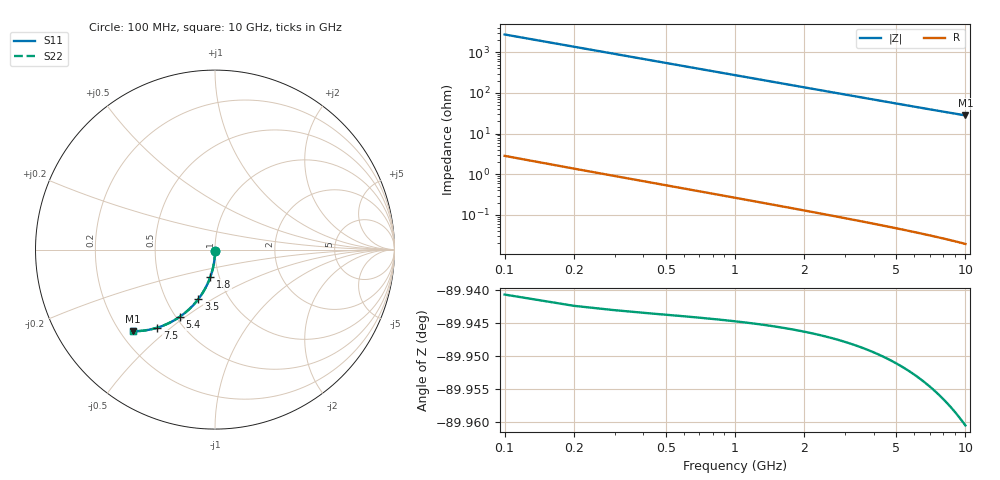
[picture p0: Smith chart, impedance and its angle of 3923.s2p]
# Hz S RI R 50.00
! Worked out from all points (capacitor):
!   100 points, 100 MHz to 10 GHz, reference 50 ohm
!   read as one part in shunt: C = 580 fF near 100 MHz
!   lowest |Z| = 28.1 ohm at 10 GHz (marker M1)
!   S11 on the Smith chart (normalised r, x): 100 MHz: 1.00, -0.02; 1.8 GHz: 0.91, -0.28; 3.5 GHz: 0.72, -0.43; 5.4 GHz: 0.52, -0.48; 7.5 GHz: 0.37, -0.45; 10 GHz: 0.25, -0.39
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1e8  0.000274 -0.00868  0.9995 -0.00953  0.9995 -0.00953  0.000274 -0.00868
2e8  1.91e-05 -0.0174  0.9993 -0.0191  0.9993 -0.0191  1.91e-05 -0.0174
3e8  -0.000402 -0.026  0.9989 -0.0286  0.9989 -0.0286  -0.000402 -0.026
4e8  -0.000988 -0.0347  0.9983 -0.0381  0.9983 -0.0381  -0.000988 -0.0347
5e8  -0.00174 -0.0433  0.9975 -0.0476  0.9975 -0.0476  -0.00174 -0.0433
6e8  -0.00265 -0.0519  0.9966 -0.0571  0.9966 -0.0571  -0.00265 -0.0519
8e8  -0.00497 -0.0691  0.9943 -0.0759  0.9943 -0.0759  -0.00497 -0.0691
1.1e9  -0.00965 -0.0946  0.9896 -0.1039  0.9896 -0.1039  -0.00965 -0.0946
1.4e9  -0.0157 -0.1196  0.9834 -0.1315  0.9834 -0.1315  -0.0157 -0.1196
1.8e9  -0.0259 -0.1521  0.9732 -0.1674  0.9732 -0.1674  -0.0259 -0.1521
2.1e9  -0.0351 -0.1757  0.964 -0.1936  0.964 -0.1936  -0.0351 -0.1757
2.5e9  -0.0491 -0.206  0.9499 -0.2273  0.9499 -0.2273  -0.0491 -0.206
2.9e9  -0.0651 -0.2348  0.9338 -0.2595  0.9338 -0.2595  -0.0651 -0.2348
3.4e9  -0.0875 -0.2685  0.9113 -0.2975  0.9113 -0.2975  -0.0875 -0.2685
3.5e9  -0.0923 -0.2749  0.9065 -0.3047  0.9065 -0.3047  -0.0923 -0.2749
4.3e9  -0.1334 -0.3219  0.8652 -0.3586  0.8652 -0.3586  -0.1334 -0.3219
5.1e9  -0.1783 -0.3612  0.8199 -0.4048  0.8199 -0.4048  -0.1783 -0.3612
5.4e9  -0.1958 -0.374  0.8023 -0.4201  0.8023 -0.4201  -0.1958 -0.374
6.7e9  -0.2735 -0.4172  0.724 -0.4745  0.724 -0.4745  -0.2735 -0.4172
7.5e9  -0.3212 -0.4348  0.6759 -0.4991  0.6759 -0.4991  -0.3212 -0.4348
8.4e9  -0.3733 -0.4475  0.6232 -0.5197  0.6232 -0.5197  -0.3733 -0.4475
1e10  -0.4595 -0.4548  0.5359 -0.5411  0.5359 -0.5411  -0.4595 -0.4548
